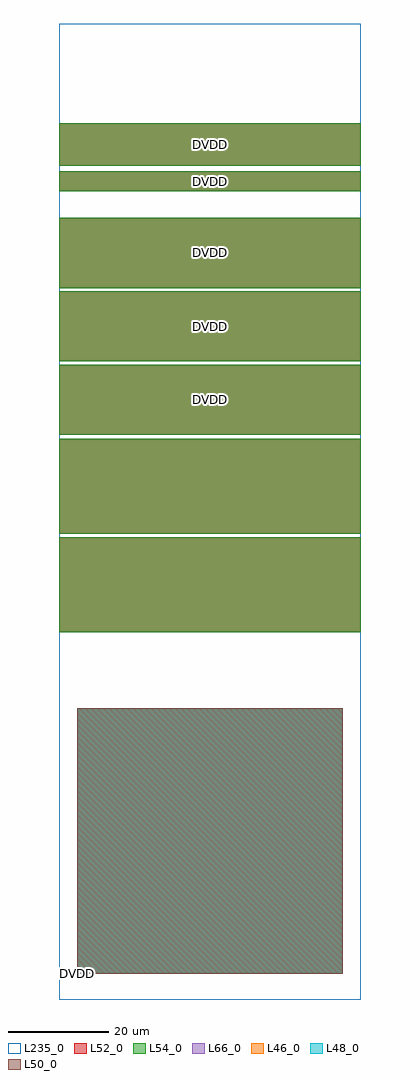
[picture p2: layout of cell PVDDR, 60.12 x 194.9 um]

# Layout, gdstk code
import gdstk
lib = gdstk.Library(unit=1e-6, precision=1e-09)
def R(c, l, rs):  # rectangles x0, y0, x1, y1
    for r in rs: c.add(gdstk.rectangle(r[:2], r[2:], *l))
L46_0 = (46, 0)
L48_0 = (48, 0)
L50_0 = (50, 0)
L52_0 = (52, 0)
L54_0 = (54, 0)
L66_0 = (66, 0)
L235_0 = (235, 0)

pvddr = lib.new_cell('PVDDR')
R(pvddr, L46_0, [(3.56,5.18,56.56,58.18)])
R(pvddr, L48_0, [(3.56,5.18,56.56,58.18)])
R(pvddr, L50_0, [(3.56,5.18,56.56,58.18)])
R(pvddr, L52_0, [(3.56,5.18,56.56,58.18), (0,73.3,60.12,92.3), (0,92.99,60.12,111.99), (0,112.79,60.12,126.79), (0,127.44,60.12,141.44), (0,142.08,60.12,156.08), (0,161.39,60.12,165.39), (0,166.47,60.12,174.97)])
R(pvddr, L54_0, [(3.56,5.18,56.56,58.18), (0,73.3,60.12,92.3), (0,92.99,60.12,111.99), (0,112.79,60.12,126.79), (0,127.44,60.12,141.44), (0,142.08,60.12,156.08), (0,161.39,60.12,165.39), (0,166.47,60.12,174.97)])
R(pvddr, L66_0, [(3.56,5.18,56.56,58.18)])
R(pvddr, L235_0, [(0,0,60.12,194.9)])
pvddr.add(gdstk.Label('DVDD', (3.56,5.18), layer=101, texttype=0))
pvddr.add(gdstk.Label('DVDD', (3.56,5.18), layer=102, texttype=0))
pvddr.add(gdstk.Label('DVDD', (3.56,5.18), layer=103, texttype=0))
pvddr.add(gdstk.Label('DVDD', (30.06,119.79), layer=104, texttype=0))
pvddr.add(gdstk.Label('DVDD', (30.06,134.44), layer=104, texttype=0))
pvddr.add(gdstk.Label('DVDD', (30.06,149.08), layer=104, texttype=0))
pvddr.add(gdstk.Label('DVDD', (30.06,163.39), layer=104, texttype=0))
pvddr.add(gdstk.Label('DVDD', (30.06,170.72), layer=104, texttype=0))
pvddr.add(gdstk.Label('DVDD', (3.56,5.18), layer=104, texttype=0))
pvddr.add(gdstk.Label('DVDD', (30.06,119.79), layer=105, texttype=0))
pvddr.add(gdstk.Label('DVDD', (30.06,134.44), layer=105, texttype=0))
pvddr.add(gdstk.Label('DVDD', (30.06,149.08), layer=105, texttype=0))
pvddr.add(gdstk.Label('DVDD', (30.06,163.39), layer=105, texttype=0))
pvddr.add(gdstk.Label('DVDD', (30.06,170.72), layer=105, texttype=0))
pvddr.add(gdstk.Label('DVDD', (3.56,5.18), layer=105, texttype=0))

lib.write_gds('PVDDR.gds')
